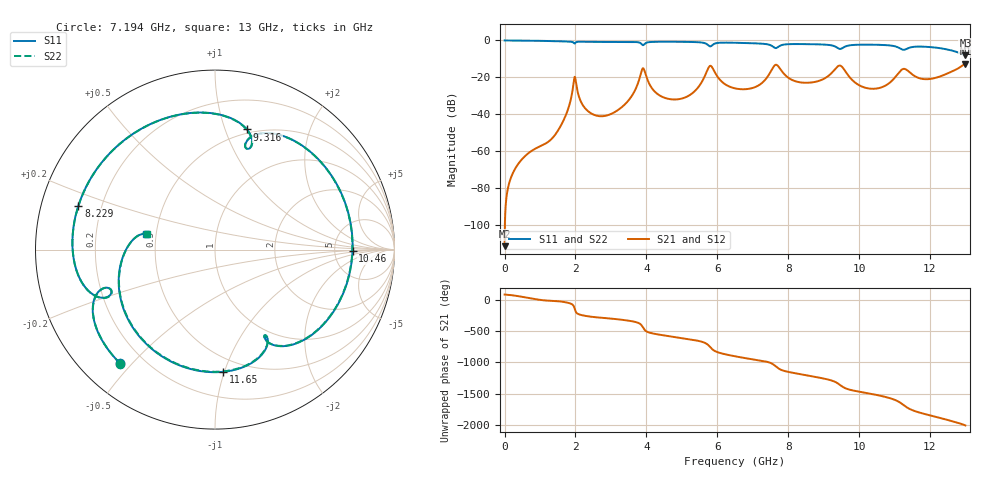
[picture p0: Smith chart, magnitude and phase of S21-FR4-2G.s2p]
! TOUCHSTONE file generated by CST MICROWAVE STUDIO
! Date and time: Sun Jun 29 16:25:08 2025
! Project name: ResonadorAnillo.cst
! Parameters = {Eeff=3.2499; Er=4.3; H=1.56; L1=20.8016; L2=20.8016; Landa=83.2063; T=0.035; W=2.85151; Wa=2.85151; X=58.2973; Y=58.2973; c=3e+11; f=2e+09; r=13.2427; s=0.3}
! Header version: 2024
! Port assignment regex: !\s*Touchstone port\s*([0-9]+)\s*=\s*(CST MWS port|CST DES external port|CST DES block port)\s*(.+)\s* \(\"(.*)\"\)(\s*mode\s*([0-9]+))?.*
! Touchstone port assignment:
! Touchstone port 1 = CST MWS port 1 ("")
! Touchstone port 2 = CST MWS port 2 ("")
# GHz S DB R 50
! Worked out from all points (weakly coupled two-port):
!   5000 points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, 2.6 MHz to 13 GHz, reference 50 ohm
!   highest |S21| = -12.47 dB at 13 GHz (marker M1); lowest = -111.2 dB at 2.6 MHz (marker M2)
!   lowest |S11| = -8.1 dB at 13 GHz (marker M3), VSWR 2.30, Z = 22 + j4.43 ohm
!   |S11| at or under -10 dB: nowhere
!   |S22| runs from -8.2 to 0.0 dB; largest |S21 - S12| = 3.8e-10
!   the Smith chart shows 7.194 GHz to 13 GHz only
!   S11 on the Smith chart (normalised r, x): 7.194 GHz: 0.12, -0.46; 8.229 GHz: 0.11, +0.15; 9.316 GHz: 0.46, +1.19; 10.46 GHz: 7.54, -0.34; 11.65 GHz: 0.39, -0.99; 13 GHz: 0.44, +0.09
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0.0026  -0.00 -0.2  -111.18 89.6  -111.18 89.6  -0.00 -0.2
1.4794  -0.41 -98.2  -49.55 -15.9  -49.55 -15.9  -0.41 -98.2
1.9734  -1.65 -131.2  -19.90 -128.7  -19.90 -128.7  -1.65 -131.2
2.171  -0.70 -142.8  -33.71 119.9  -33.71 119.9  -0.70 -142.8
3.068  -0.80 156.6  -39.15 59.9  -39.15 59.9  -0.80 156.6
3.9078  -2.56 100.3  -15.00 -80.6  -15.00 -80.6  -2.57 100.2
4.3368  -0.72 72.4  -29.24 168.4  -29.24 168.4  -0.72 72.3
5.3248  -0.84 0.7  -28.11 81.3  -28.11 81.3  -0.84 0.7
5.8058  -3.21 -29.5  -13.69 -36.7  -13.69 -36.7  -3.22 -29.4
6.5026  -1.25 -77.9  -25.90 178.0  -25.90 178.0  -1.25 -77.7
7.1942  -1.66 -129.8  -23.95 111.8  -23.95 111.8  -1.67 -129.6
7.657  -4.12 -158.1  -13.13 13.8  -13.13 13.8  -4.15 -157.9
8.229  -1.95 162.3  -22.19 -97.1  -22.19 -97.1  -1.95 162.4
8.6684  -2.03 128.3  -22.68 -142.4  -22.68 -142.4  -2.04 128.4
9.3158  -3.19 75.1  -15.69 129.9  -15.69 129.9  -3.20 75.2
10.4598  -2.31 -0.7  -26.06 -78.6  -26.06 -78.6  -2.33 -0.6
10.8342  -2.63 -32.1  -23.29 -128.6  -23.29 -128.6  -2.65 -32.2
11.2502  -5.05 -60.1  -15.36 117.5  -15.36 117.5  -5.17 -60.1
11.6532  -3.32 -86.1  -20.06 3.1  -20.06 3.1  -3.35 -86.0
12.3344  -4.32 -146.7  -19.10 -99.2  -19.10 -99.2  -4.36 -147.1
12.9974  -8.09 167.5  -12.49 148.0  -12.49 148.0  -8.20 167.1
13  -8.10 167.5  -12.47 147.4  -12.47 147.4  -8.21 167.1
